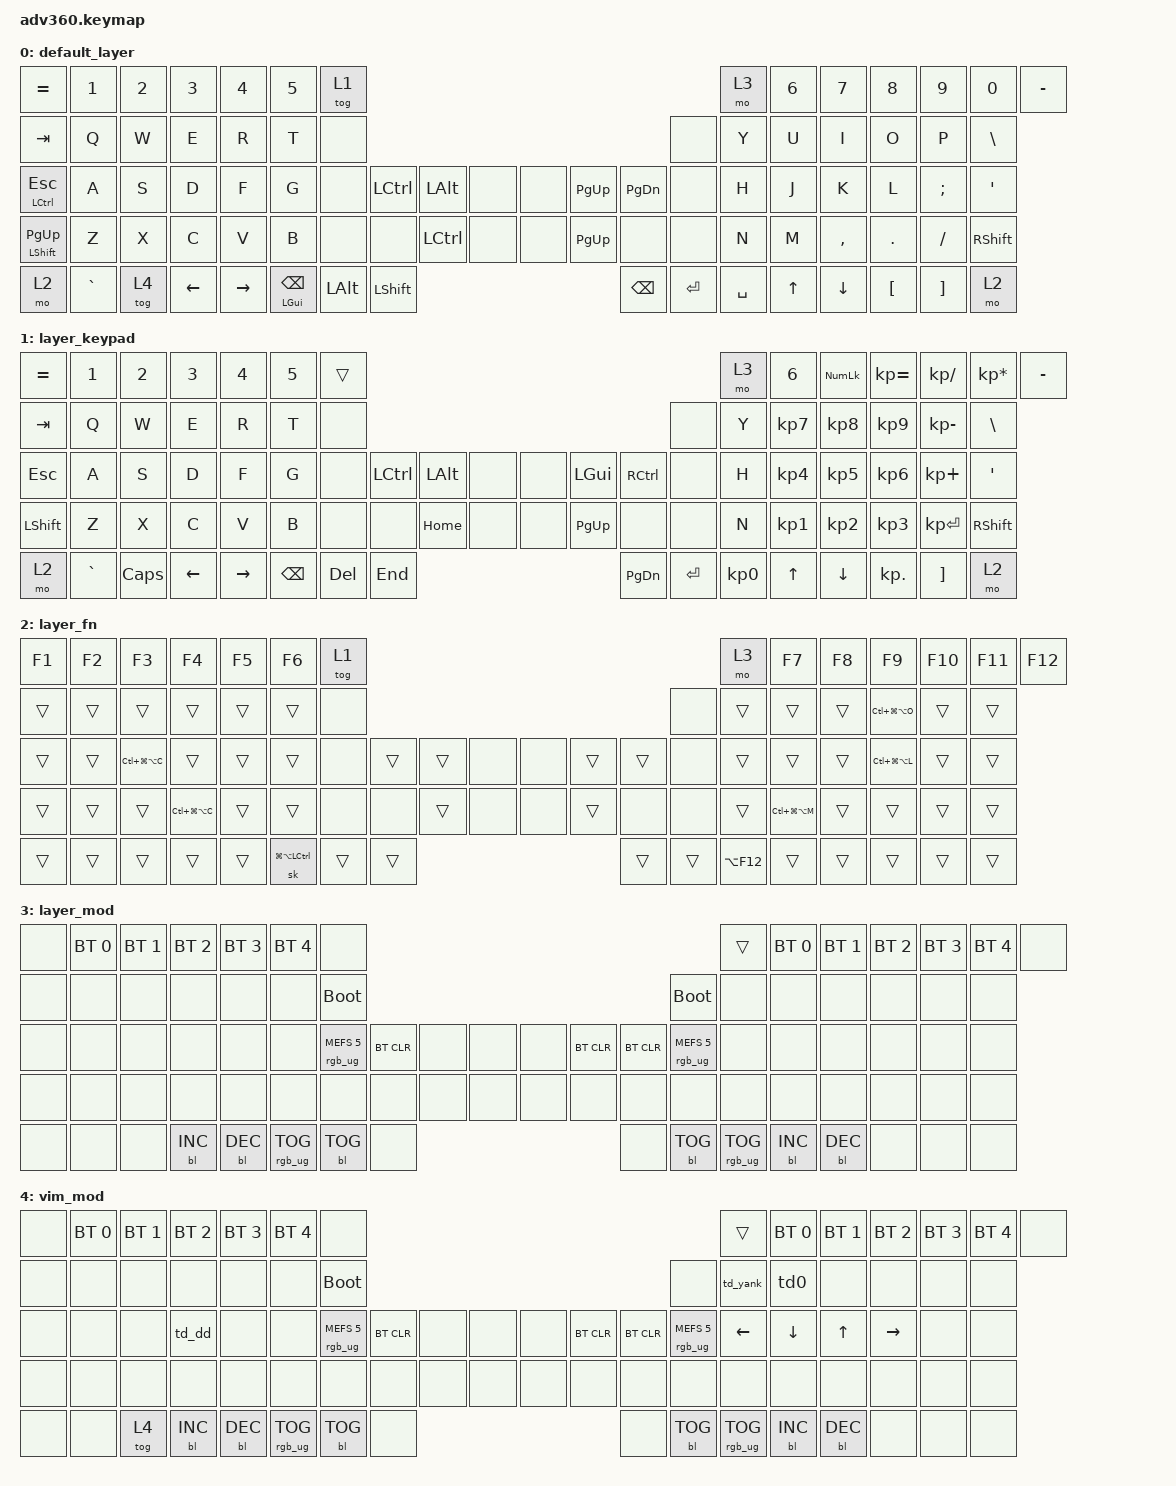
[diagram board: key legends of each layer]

/*
 * Copyright (c) 2020 The ZMK Contributors
 *
 * SPDX-License-Identifier: MIT
 */


/* THIS FILE WAS GENERATED!
 *
 * This file was generated automatically. You may or may not want to
 * edit it directly.
 */

#include <behaviors.dtsi>
#include <dt-bindings/zmk/keys.h>
#include <dt-bindings/zmk/bt.h>
#include <dt-bindings/zmk/rgb.h>
#include <dt-bindings/zmk/backlight.h>

/ {
  behaviors {
    #include "macros.dtsi"

    hm: homerow_mods {
        compatible = "zmk,behavior-hold-tap";
        label = "HOMEROW_MODS";
        #binding-cells = <2>;
        tapping-term-ms = <200>;
        quick_tap_ms = <175>;
        flavor = "tap-preferred";
        bindings = <&kp>, <&kp>;
    };

     td_yank: tap_dance_yank {
            compatible = "zmk,behavior-tap-dance";
            label = "TAP_DANCE_YANK";
            #binding-cells = <0>;
            tapping-term-ms = <200>;
            bindings = <&kp LG(C)>, <&copy_line>;
        };
         td0: tap_dance_0 {
            compatible = "zmk,behavior-tap-dance";
            label = "TAP_DANCE_0";
            #binding-cells = <0>;
            tapping-term-ms = <200>;
            bindings = <&kp N1>, <&kp N2>, <&kp N3>;
        };
         td_dd: tap_dd {
            compatible = "zmk,behavior-tap-dance";
            label = "TAP_DANCE_0";
            #binding-cells = <0>;
            tapping-term-ms = <200>;
            bindings = <&delete_line>, <&delete_line>;
        };
  };

    keymap {
        compatible = "zmk,keymap";


        default_layer {
            bindings = <
 &kp EQUAL     &kp N1    &kp N2    &kp N3     &kp N4  &kp N5              &tog 1                                                                  &mo 3  &kp N6  &kp N7     &kp N8    &kp N9    &kp N0  &kp MINUS
   &kp TAB      &kp Q     &kp W     &kp E      &kp R   &kp T               &none                                                                  &none   &kp Y   &kp U      &kp I     &kp O     &kp P   &kp BSLH
   &mt LCTRL ESC      &kp A     &kp S     &kp D      &kp F   &kp G               &none  &kp LCTRL   &kp LALT   &none   &none  &kp PG_UP  &kp PG_DN      &none   &kp H   &kp J      &kp K     &kp L  &kp SEMI    &kp SQT
 &mt LSHFT PG_UP      &kp Z     &kp X     &kp C      &kp V   &kp B               &none      &none  &kp LCTRL   &none   &none  &kp PG_UP      &none      &none   &kp N   &kp M  &kp COMMA   &kp DOT  &kp FSLH  &kp RSHFT
     &mo 2  &kp GRAVE  &tog 4  &kp LEFT  &kp RIGHT                    &mt LGUI BSPC   &kp LALT  &kp LSHFT                   &kp BSPC  &kp ENTER &kp SPACE          &kp UP   &kp DOWN  &kp LBKT  &kp RBKT      &mo 2
            >;
        };

        layer_keypad {
            bindings = <
 &kp EQUAL     &kp N1    &kp N2    &kp N3     &kp N4  &kp N5              &trans                                                                 &mo 3  &kp N6  &kp KP_NUM  &kp KP_EQUAL  &kp KP_DIVIDE  &kp KP_MULTIPLY  &kp MINUS
   &kp TAB      &kp Q     &kp W     &kp E      &kp R   &kp T               &none                                                                 &none   &kp Y   &kp KP_N7     &kp KP_N8      &kp KP_N9     &kp KP_MINUS   &kp BSLH
   &kp ESC      &kp A     &kp S     &kp D      &kp F   &kp G               &none  &kp LCTRL  &kp LALT   &none   &none   &kp LGUI  &kp RCTRL      &none   &kp H   &kp KP_N4     &kp KP_N5      &kp KP_N6      &kp KP_PLUS    &kp SQT
 &kp LSHFT      &kp Z     &kp X     &kp C      &kp V   &kp B               &none      &none  &kp HOME   &none   &none  &kp PG_UP      &none      &none   &kp N   &kp KP_N1     &kp KP_N2      &kp KP_N3     &kp KP_ENTER  &kp RSHFT
     &mo 2  &kp GRAVE  &kp CAPS  &kp LEFT  &kp RIGHT                    &kp BSPC    &kp DEL   &kp END                  &kp PG_DN  &kp ENTER  &kp KP_N0              &kp UP      &kp DOWN     &kp KP_DOT         &kp RBKT      &mo 2
            >;
        };

        layer_fn {
            bindings = <
 &kp F1  &kp F2  &kp F3  &kp F4  &kp F5  &kp F6            &tog 1                                                   &mo 3  &kp F7  &kp F8  &kp F9  &kp F10  &kp F11  &kp F12
 &trans  &trans  &trans  &trans  &trans  &trans             &none                                                   &none  &trans  &trans  &trans  &kp LC(LG(LA(O))) &trans   &trans
 &trans  &trans  &kp LC(LG(LA(C)))  &trans  &trans  &trans             &none  &trans  &trans   &none   &none  &trans  &trans   &none  &trans  &trans  &trans   &kp LC(LG(LA(L)))   &trans   &trans
 &trans  &trans  &trans  &kp LC(LG(LA(C)))  &trans  &trans             &none   &none  &trans   &none   &none  &trans   &none   &none  &trans  &kp LC(LG(LA(M)))  &trans   &trans   &trans   &trans
 &trans  &trans  &trans  &trans  &trans                    &sk LG(LA(LCTRL))  &trans  &trans                  &trans  &trans  &kp LA(F12)          &trans  &trans   &trans   &trans   &trans
            >;
        };

        layer_mod {
            bindings = <
  &none  &bt BT_SEL 0  &bt BT_SEL 1  &bt BT_SEL 2  &bt BT_SEL 3  &bt BT_SEL 4                             &none                                                                              &trans  &bt BT_SEL 0  &bt BT_SEL 1  &bt BT_SEL 2  &bt BT_SEL 3  &bt BT_SEL 4   &none
  &none         &none         &none         &none         &none         &none                       &bootloader                                                                         &bootloader         &none         &none         &none         &none         &none   &none
  &none         &none         &none         &none         &none         &none            &rgb_ug RGB_MEFS_CMD 5  &bt BT_CLR   &none   &none   &none  &bt BT_CLR  &bt BT_CLR  &rgb_ug RGB_MEFS_CMD 5         &none         &none         &none         &none         &none   &none
  &none         &none         &none         &none         &none         &none                             &none       &none   &none   &none   &none       &none       &none                   &none         &none         &none         &none         &none         &none   &none
  &none         &none         &none    &bl BL_INC    &bl BL_DEC                                 &rgb_ug RGB_TOG  &bl BL_TOG   &none                       &none  &bl BL_TOG         &rgb_ug RGB_TOG                  &bl BL_INC    &bl BL_DEC         &none         &none   &none
            >;
        };

        vim_mod {
            bindings = <
  &none  &bt BT_SEL 0  &bt BT_SEL 1  &bt BT_SEL 2  &bt BT_SEL 3  &bt BT_SEL 4                             &none                                                                              &trans  &bt BT_SEL 0  &bt BT_SEL 1  &bt BT_SEL 2  &bt BT_SEL 3  &bt BT_SEL 4   &none
  &none         &none         &none         &none         &none         &none                       &bootloader                                                                         &none         &td_yank         &td0         &none         &none         &none   &none
  &none         &none         &none         &td_dd         &none         &none            &rgb_ug RGB_MEFS_CMD 5  &bt BT_CLR   &none   &none   &none  &bt BT_CLR  &bt BT_CLR  &rgb_ug RGB_MEFS_CMD 5         &kp LEFT         &kp DOWN         &kp UP         &kp RIGHT         &none   &none
  &none         &none         &none         &none         &none         &none                             &none       &none   &none   &none   &none       &none       &none                   &none         &none         &none         &none         &none         &none   &none
  &none         &none         &tog 4    &bl BL_INC    &bl BL_DEC                                 &rgb_ug RGB_TOG  &bl BL_TOG   &none                       &none  &bl BL_TOG         &rgb_ug RGB_TOG                  &bl BL_INC    &bl BL_DEC         &none         &none   &none
            >;
        };

    };
};
